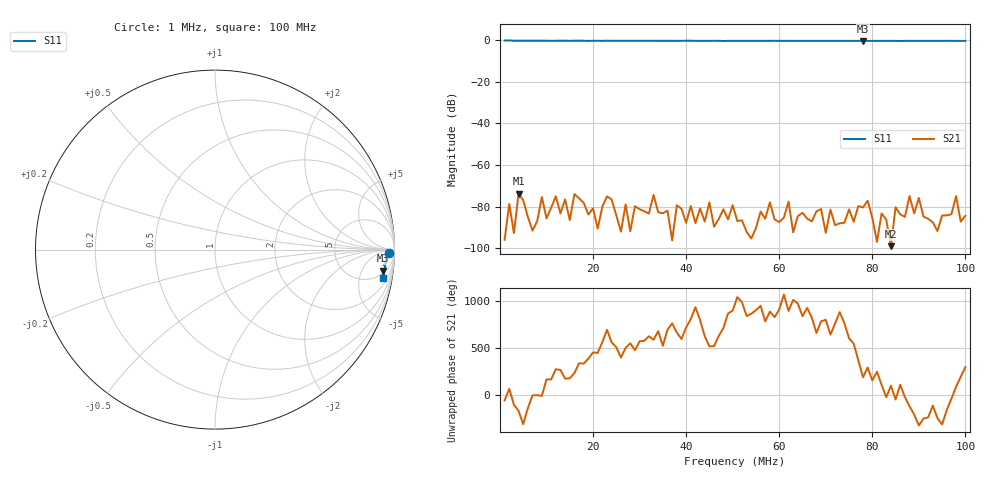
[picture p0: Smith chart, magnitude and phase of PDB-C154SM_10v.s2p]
# HZ S RI R 50
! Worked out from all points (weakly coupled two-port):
!   100 points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, 1 MHz to 100 MHz, reference 50 ohm
!   highest |S21| = -73.77 dB at 4 MHz (marker M1); lowest = -98.9 dB at 84 MHz (marker M2)
!   lowest |S11| = -0.5 dB at 78 MHz (marker M3), VSWR 34.76, Z = 307 - j661 ohm
!   |S11| at or under -10 dB: nowhere
!   S12 and S22 are empty: the file has one direction only
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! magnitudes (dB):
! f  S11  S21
! 1 MHz  -0.3  -95.9
! 4 MHz  -0.3  -73.8
! 6 MHz  -0.3  -84.9
! 9 MHz  -0.4  -75.4
! 11 MHz  -0.4  -80.5
! 12 MHz  -0.4  -75.0
! 15 MHz  -0.4  -86.4
! 16 MHz  -0.4  -74.0
! 18 MHz  -0.4  -78.2
! 32 MHz  -0.4  -83.3
! 33 MHz  -0.4  -74.3
! 34 MHz  -0.4  -82.7
! 51 MHz  -0.4  -86.9
! 67 MHz  -0.4  -87.1
! 78 MHz  -0.5  -80.4
! 84 MHz  -0.4  -98.9
! 88 MHz  -0.4  -74.9
! 89 MHz  -0.4  -83.2
! 90 MHz  -0.4  -75.8
! 97 MHz  -0.5  -83.6
! 98 MHz  -0.4  -74.9
! 100 MHz  -0.5  -84.4
